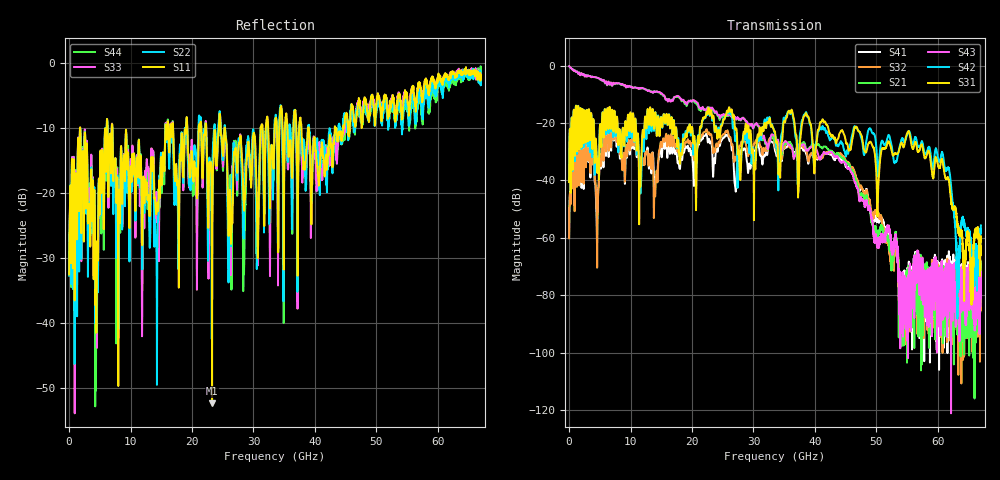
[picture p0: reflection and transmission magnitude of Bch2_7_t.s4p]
!Agilent Technologies,N5247A,US51170199,A.09.90.13
!Agilent N5247A: A.09.90.13
!Date: Wednesday, October 17, 2018 15:13:35
!Correction: S11(Full 4 Port(1,2,3,4))
!S12(Full 4 Port(1,2,3,4))
!S13(Full 4 Port(1,2,3,4))
!S14(Full 4 Port(1,2,3,4))
!S21(Full 4 Port(1,2,3,4))
!S22(Full 4 Port(1,2,3,4))
!S23(Full 4 Port(1,2,3,4))
!S24(Full 4 Port(1,2,3,4))
!S31(Full 4 Port(1,2,3,4))
!S32(Full 4 Port(1,2,3,4))
!S33(Full 4 Port(1,2,3,4))
!S34(Full 4 Port(1,2,3,4))
!S41(Full 4 Port(1,2,3,4))
!S42(Full 4 Port(1,2,3,4))
!S43(Full 4 Port(1,2,3,4))
!S44(Full 4 Port(1,2,3,4))
!S4P File: Measurements: <S11,S12,S13,S14>,
!<S21,S22,S23,S24>,
!<S31,S32,S33,S34>,
!<S41,S42,S43,S44>:
# Hz S  dB  R 50
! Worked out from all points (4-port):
!   6701 points, 10 MHz to 67 GHz, reference 50 ohm
!   strongest paths, dB at 10 MHz, 16.76 GHz, 33.51 GHz, 50.25 GHz, 67 GHz:
!     S31: -40.6, -21.1, -23.2, -45.3, -59.5
!     S42: -40.5, -20.9, -23.7, -38.6, -55.7
!     S43: -0.2, -12.0, -24.8, -61.8, -73.6
!     S21: -0.2, -11.9, -26.6, -59.6, -70.4
!     S32: -60.2, -26.7, -28.2, -51.4, -79.6
!     S41: -59.8, -28.9, -29.7, -54.3, -76.5
!   lowest |S11| = -52.4 dB at 23.27 GHz (marker M1), VSWR 1.00, Z = 49.8 + j0.11 ohm
!   |S11| at or under -10 dB: 1.816 GHz to 6.113 GHz (4.297 GHz wide, 108 % of centre); 7.05 GHz to 15.67 GHz (8.625 GHz wide, 75.9 % of centre); 25.34 GHz to 31.16 GHz (5.825 GHz wide, 20.6 % of centre)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
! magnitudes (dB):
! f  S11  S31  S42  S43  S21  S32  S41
! 10 MHz  -32.6  -40.6  -40.5  -0.2  -0.2  -60.2  -59.8
! 1.65 GHz  -22.6  -27.5  -27.1  -2.4  -2.4  -41.8  -41.4
! 23.27 GHz  -52.4  -18.1  -18.8  -14.6  -15.0  -25.8  -29.0
! 44.25 GHz  -11.6  -22.7  -26.4  -33.7  -31.9  -30.8  -32.7
! 55.18 GHz  -6.4  -22.9  -23.3  -77.4  -72.5  -78.9  -74.7
! 63.24 GHz  -1.3  -55.8  -69.7  -71.6  -69.8  -76.1  -77.9
! 67 GHz  -2.3  -59.5  -55.7  -73.6  -70.4  -79.6  -76.5
